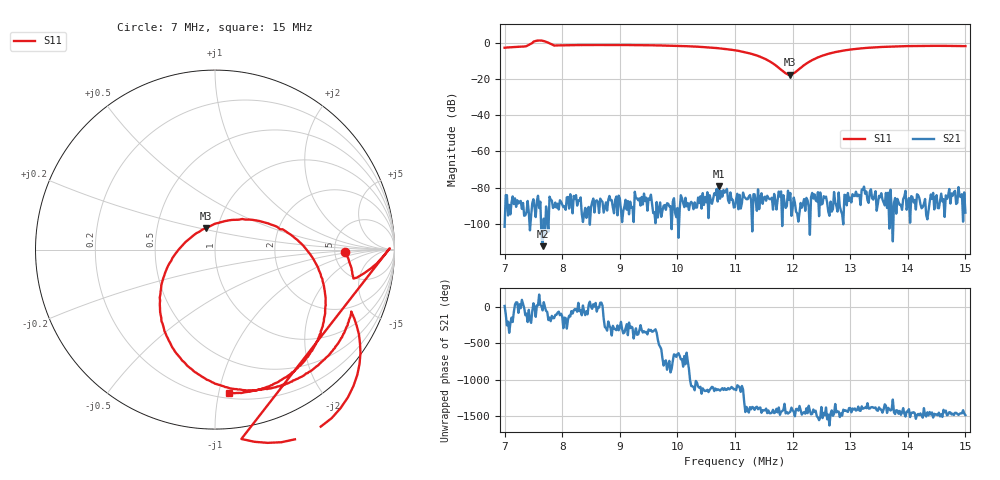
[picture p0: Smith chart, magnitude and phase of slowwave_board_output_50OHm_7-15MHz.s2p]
! Measured S11/S21; S12/S22 are placeholders, NOT measurements. Calibration unverified.
! [Saver CAL applied] C:\Users\aknya\MyProjects\rf-simulator\calibration2.cal | Ideal standards assumed | Input: NanoVNA F V2 profile | COM3 | 2026-10-04T11:32:39.4468448-04:00 | device calibration unverified
# HZ S RI R 50
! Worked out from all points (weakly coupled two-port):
!   401 points, 7 MHz to 15 MHz, reference 50 ohm
!   highest |S21| = -79.29 dB at 10.72 MHz (marker M1); lowest = -112.2 dB at 7.66 MHz (marker M2)
!   lowest |S11| = -17.7 dB at 11.96 MHz (marker M3), VSWR 1.30, Z = 43.8 + j10.7 ohm
!   |S11| at or under -10 dB: 11.59 MHz to 12.32 MHz (731.3 kHz wide, 6.12 % of centre)
!   S12 and S22 are empty: the file has one direction only
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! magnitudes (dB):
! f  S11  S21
! 7 MHz  -2.8  -101.5
! 7.34 MHz  -2.1  -95.4
! 7.54 MHz  1.0  -96.2
! 7.66 MHz  1.0  -112.2
! 7.88 MHz  -1.5  -88.2
! 8.34 MHz  -1.3  -94.4
! 9.68 MHz  -1.5  -91.7
! 10.72 MHz  -3.1  -79.3
! 11 MHz  -4.2  -90.6
! 11.26 MHz  -5.9  -84.0
! 11.48 MHz  -8.3  -88.9
! 11.66 MHz  -11.5  -92.1
! 11.88 MHz  -16.9  -91.1
! 11.96 MHz  -17.7  -82.9
! 12.02 MHz  -16.8  -85.4
! 12.22 MHz  -12.0  -92.7
! 12.34 MHz  -9.6  -82.9
! 12.56 MHz  -6.7  -85.4
! 12.84 MHz  -4.6  -92.8
! 13.2 MHz  -3.1  -81.0
! 13.68 MHz  -2.2  -102.5
! 15 MHz  -1.9  -93.7
